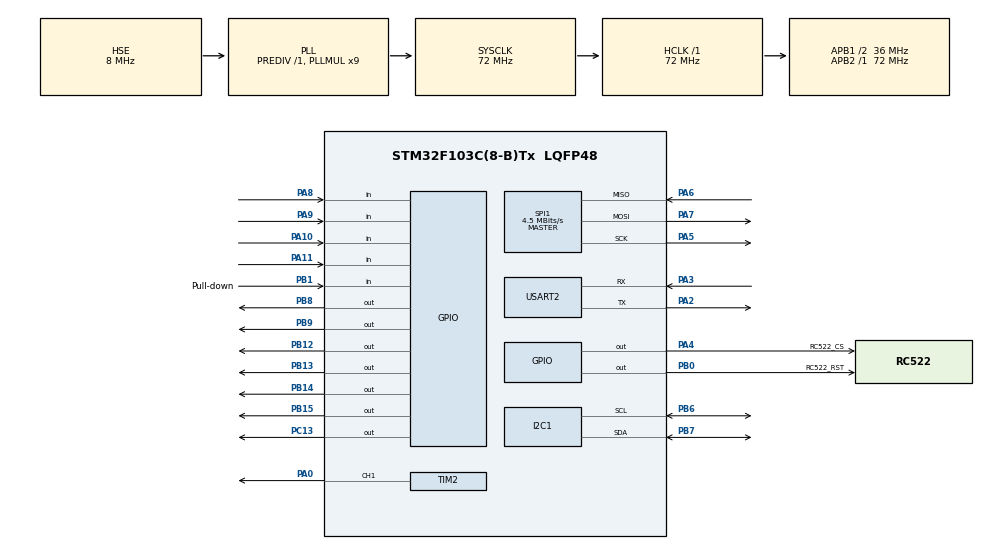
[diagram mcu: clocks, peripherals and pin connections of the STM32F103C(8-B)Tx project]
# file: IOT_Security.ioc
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Mcu.Family=STM32F1
Mcu.Name=STM32F103C(8-B)Tx
Mcu.Package=LQFP48
NVIC.PriorityGroup=NVIC_PRIORITYGROUP_4
NVIC.USART2_IRQn=true\:0\:0\:false\:false\:true\:true\:true\:true
PA0-WKUP.Signal=S_TIM2_CH1_ETR
PA10.GPIO_PuPd=GPIO_PULLUP
PA10.Signal=GPIO_Input
PA11.GPIO_PuPd=GPIO_PULLUP
PA11.Signal=GPIO_Input
PA13.Mode=Serial_Wire
PA13.Signal=SYS_JTMS-SWDIO
PA14.Mode=Serial_Wire
PA14.Signal=SYS_JTCK-SWCLK
PA2.Mode=Asynchronous
PA2.Signal=USART2_TX
PA3.Mode=Asynchronous
PA3.Signal=USART2_RX
PA4.GPIO_Label=RC522_CS
PA4.Signal=GPIO_Output
PA5.Mode=Full_Duplex_Master
PA5.Signal=SPI1_SCK
PA6.Mode=Full_Duplex_Master
PA6.Signal=SPI1_MISO
PA7.Mode=Full_Duplex_Master
PA7.Signal=SPI1_MOSI
PA8.GPIO_PuPd=GPIO_PULLUP
PA8.Signal=GPIO_Input
PA9.GPIO_PuPd=GPIO_PULLUP
PA9.Signal=GPIO_Input
PB0.GPIO_Label=RC522_RST
PB0.Signal=GPIO_Output
PB1.GPIO_Label=Pull-down
PB1.GPIO_PuPd=GPIO_PULLDOWN
PB1.Signal=GPIO_Input
PB12.Signal=GPIO_Output
PB13.Signal=GPIO_Output
PB14.Signal=GPIO_Output
PB15.Signal=GPIO_Output
PB6.Mode=I2C
PB6.Signal=I2C1_SCL
PB7.Mode=I2C
PB7.Signal=I2C1_SDA
PB8.Signal=GPIO_Output
PB9.Signal=GPIO_Output
PC13-TAMPER-RTC.Signal=GPIO_Output
PD0-OSC_IN.Mode=HSE-External-Oscillator
PD0-OSC_IN.Signal=RCC_OSC_IN
PD1-OSC_OUT.Mode=HSE-External-Oscillator
PD1-OSC_OUT.Signal=RCC_OSC_OUT
ProjectManager.HeapSize=0x200
ProjectManager.StackSize=0x400
ProjectManager.TargetToolchain=STM32CubeIDE
RCC.AHBFreq_Value=72000000
RCC.APB1CLKDivider=RCC_HCLK_DIV2
RCC.APB1Freq_Value=36000000
RCC.APB1TimFreq_Value=72000000
RCC.APB2Freq_Value=72000000
RCC.APB2TimFreq_Value=72000000
RCC.HCLKFreq_Value=72000000
RCC.PLLMUL=RCC_PLL_MUL9
RCC.PLLSourceVirtual=RCC_PLLSOURCE_HSE
RCC.SYSCLKFreq_VALUE=72000000
RCC.SYSCLKSource=RCC_SYSCLKSOURCE_PLLCLK
RCC.USBFreq_Value=72000000
SH.S_TIM2_CH1_ETR.0=TIM2_CH1,PWM Generation1 CH1
SPI1.BaudRatePrescaler=SPI_BAUDRATEPRESCALER_16
SPI1.CalculateBaudRate=4.5 MBits/s
SPI1.Direction=SPI_DIRECTION_2LINES
SPI1.Mode=SPI_MODE_MASTER
SPI1.VirtualType=VM_MASTER
TIM2.Channel-PWM\ Generation1\ CH1=TIM_CHANNEL_1
TIM2.Period=19999
TIM2.Prescaler=71
USART2.VirtualMode=VM_ASYNC
board=custom

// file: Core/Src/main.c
/* USER CODE BEGIN Header */
/**
  ******************************************************************************
  * @file           : main.c
  * @brief          : Main program body - Smart Door Lock Complete
  ******************************************************************************
  */
/* USER CODE END Header */
#include "main.h"

/* USER CODE BEGIN Includes */
#include <string.h>
#include <stdio.h>
#include <stdbool.h>
#include "door_hw.h"
#include "esp8266.h"
#include "keypad.h"
#include "rc522.h"
#include "ssd1306.h"
/* USER CODE END Includes */

I2C_HandleTypeDef hi2c1;
SPI_HandleTypeDef hspi1;
TIM_HandleTypeDef htim2;
UART_HandleTypeDef huart2;

/* USER CODE BEGIN PV */
#define PASS_LEN 4
#define MAX_CARDS 5

typedef enum {
    STATE_NORMAL = 0,
    STATE_VERIFY_FOR_PASS,
    STATE_NEW_PASS,
    STATE_VERIFY_FOR_CARD,
    STATE_MANAGE_CARD,
    STATE_VERIFY_MODE_PIN,      // Nhập mã chủ nhà 4 số để bật/tắt Chế độ Vắng nhà
    STATE_VERIFY_OLD_MODE_PIN,  // Nhập mã chủ nhà cũ để đổi mã chủ nhà
    STATE_NEW_MODE_PIN          // Nhập mã chủ nhà mới
} SystemState_t;

SystemState_t sys_state = STATE_NORMAL;
char current_pass[PASS_LEN + 1] = "1234";      // Mật khẩu mở cửa thường
char master_mode_pin[PASS_LEN + 1] = "9999";   // Mã chủ nhà đổi chế độ Vắng nhà

uint8_t valid_cards[MAX_CARDS][4] = {
    {0x12, 0x34, 0x56, 0x78},
    {0, 0, 0, 0},
    {0, 0, 0, 0},
    {0, 0, 0, 0},
    {0, 0, 0, 0}
};
uint8_t card_count = 1;

char input_pass[PASS_LEN + 1] = {0};
uint8_t pass_idx = 0;
uint8_t wrong_count = 0;

bool away_mode = false;          // false: Ở nhà | true: Vắng nhà (khóa cứng)
bool is_door_open = false;
bool is_awake = false;
bool door_timeout_alert = false;

uint32_t last_interact_time = 0; // Mốc thời gian cho màn hình nghỉ 5s
uint32_t door_opened_time = 0;   // Mốc thời gian riêng cho cảnh báo quên đóng cửa 15s
uint32_t last_alarm_beep = 0;
uint8_t rx_uid[5];
/* USER CODE END PV */

void SystemClock_Config(void);
static void MX_GPIO_Init(void);
static void MX_I2C1_Init(void);
static void MX_SPI1_Init(void);
static void MX_TIM2_Init(void);
static void MX_USART2_UART_Init(void);

/* USER CODE BEGIN 0 */

void Update_Interaction(void) {
    uint32_t now = HAL_GetTick();
    last_interact_time = now;
    door_opened_time = now;
    door_timeout_alert = false;
}

void Show_Cute_Idle(void) {
    SSD1306_Clear();
    SSD1306_SetCursor(24, 1);
    SSD1306_WriteString("<3  SMART DOOR  <3");
    SSD1306_SetCursor(30, 4);
    SSD1306_WriteString("( ^  v  ^ )");
    SSD1306_SetCursor(28, 6);
    if (away_mode) {
        SSD1306_WriteString("[CHE DO VANG NHA]");
    } else {
        SSD1306_WriteString("Xin chao ban!");
    }
    SSD1306_UpdateScreen();
}

void Show_Current_Prompt(void) {
    char display_buf[16] = {0};
    for (uint8_t i = 0; i < PASS_LEN; i++) {
        if (sys_state == STATE_VERIFY_MODE_PIN || sys_state == STATE_VERIFY_OLD_MODE_PIN || sys_state == STATE_NEW_MODE_PIN) {
            display_buf[i * 2] = (i < pass_idx) ? '*' : '_';
        } else {
            display_buf[i * 2] = (i < pass_idx) ? input_pass[i] : '_';
        }
        display_buf[i * 2 + 1] = ' ';
    }

    if (sys_state == STATE_NORMAL) {
        UI_UpdateScreen(away_mode, "Nhap MK (4 so):", display_buf, "A:Mode B:MK *:MaChu");
    } else if (sys_state == STATE_VERIFY_FOR_PASS) {
        UI_UpdateScreen(away_mode, "DOI MK - Nhap MK cu:", display_buf, "#:Xac nhan  *:Huy");
    } else if (sys_state == STATE_NEW_PASS) {
        UI_UpdateScreen(away_mode, "DOI MK - Nhap MK moi:", display_buf, "#:Luu MK    *:Huy");
    } else if (sys_state == STATE_VERIFY_FOR_CARD) {
        UI_UpdateScreen(away_mode, "THE TU - Nhap MK:", display_buf, "#:Xac nhan  *:Huy");
    } else if (sys_state == STATE_MANAGE_CARD) {
        char info[22];
        snprintf(info, sizeof(info), "Da luu: %d/%d the", card_count, MAX_CARDS);
        UI_UpdateScreen(away_mode, "Quet the de THEM/XOA", info, "Bam [*] de thoat");
    } else if (sys_state == STATE_VERIFY_MODE_PIN) {
        UI_UpdateScreen(away_mode, "NHAP MA CHU NHA:", display_buf, "#:Doi Mode  *:Huy");
    } else if (sys_state == STATE_VERIFY_OLD_MODE_PIN) {
        UI_UpdateScreen(away_mode, "MA CHU NHA CU:", display_buf, "#:Tiep tuc  *:Huy");
    } else if (sys_state == STATE_NEW_MODE_PIN) {
        UI_UpdateScreen(away_mode, "MA CHU NHA MOI:", display_buf, "#:Luu ma    *:Huy");
    }
}

void Reset_Input(void) {
    pass_idx = 0;
    memset(input_pass, 0, sizeof(input_pass));
}

int8_t Find_Card(uint8_t *uid) {
    for (uint8_t i = 0; i < card_count; i++) {
        if (memcmp(valid_cards[i], uid, 4) == 0) {
            return i;
        }
    }
    return -1;
}

void Unlock_Door(const char *reason) {
    Update_Interaction();
    is_awake = true;

    // CHỐT CHẶN TUYỆT ĐỐI KHI Ở CHẾ ĐỘ VẮNG NHÀ
    if (away_mode) {
        LED_BlinkRed(2, 150);
        Buzzer_Beep(3, 150);
        UI_UpdateScreen(away_mode, "CHE DO VANG NHA!", "Cua da khoa cung!", "Tat Mode de mo cua");
        ESP8266_SendLog(0, 1);
        HAL_Delay(1500);
        Show_Current_Prompt();
        return;
    }

    wrong_count = 0;
    if (!is_door_open) {
        UI_UpdateScreen(away_mode, "MO CUA THANH CONG", reason, "Bam [D] de dong cua");
        LED_BlinkGreen(1, 150);
        Buzzer_Beep(1, 120);
        HAL_Delay(100);

        LED_SetRed(false);
        LED_SetGreen(true);

        Servo_SetAngle(90);
        is_door_open = true;
        door_timeout_alert = false;
        door_opened_time = HAL_GetTick();
        ESP8266_SendLog(1, 0);
    } else {
        UI_UpdateScreen(away_mode, "CUA DANG MO SAN", "Bam [D] de dong cua", "");
    }
}

void Lock_Door(void) {
    Update_Interaction();
    if (is_door_open) {
        UI_UpdateScreen(away_mode, "DANG DONG CUA...", "Xin cho mot chut", "");
        LED_SetGreen(false);
        LED_SetRed(false);
        door_timeout_alert = false;

        Buzzer_Beep(2, 80);
        Servo_SetAngle(0);
        is_door_open = false;
        sys_state = STATE_NORMAL;
        Reset_Input();
        Show_Current_Prompt();
    } else {
        UI_UpdateScreen(away_mode, "CUA DA DONG SAN!", "", "");
        HAL_Delay(1000);
        if (is_awake) Show_Current_Prompt();
        else Show_Cute_Idle();
    }
}
/* USER CODE END 0 */

int main(void)
{
  HAL_Init();
  SystemClock_Config();

  MX_GPIO_Init();
  MX_I2C1_Init();
  MX_SPI1_Init();
  MX_TIM2_Init();
  MX_USART2_UART_Init();

  /* USER CODE BEGIN 2 */
    DoorHW_Init(&htim2, &hi2c1);
    RC522_Init(&hspi1);
    UI_UpdateScreen(away_mode, "Khoi dong WiFi...", WIFI_SSID, "Xin cho 2 giay...");
    HAL_Delay(2000);

    char esp_ip[20] = {0};
    char debug_msg[25] = {0};

    if (ESP8266_Init(&huart2, esp_ip, debug_msg)) {
        char ip_line[26];
        snprintf(ip_line, sizeof(ip_line), "IP: %s", esp_ip);
        UI_UpdateScreen(away_mode, "WiFi: THANH CONG!", WIFI_SSID, ip_line);
        LED_BlinkGreen(2, 150);
        Buzzer_Beep(2, 100);
        HAL_Delay(3000);
    } else {
        UI_UpdateScreen(away_mode, "WiFi: THAT BAI!", debug_msg, "Xem lai phan cung");
        LED_BlinkRed(2, 200);
        Buzzer_Beep(3, 150);
        HAL_Delay(3000);
    }

    is_awake = false;
    Update_Interaction();
    Show_Cute_Idle();
  /* USER CODE END 2 */

  /* USER CODE BEGIN WHILE */
  while (1)
  {
    uint32_t now = HAL_GetTick();

        static uint8_t ir_prev_state = 0;
        uint8_t ir_triggered = (HAL_GPIO_ReadPin(Pull_down_GPIO_Port, Pull_down_Pin) == GPIO_PIN_RESET) ? 1 : 0;

        if (ir_triggered) {
            last_interact_time = now;

            if (ir_prev_state == 0) {
                LED_BlinkRed(1, 100);
            }

            if (!is_awake) {
                is_awake = true;
                sys_state = STATE_NORMAL;
                Reset_Input();
                Show_Current_Prompt();
            }
        }
        ir_prev_state = ir_triggered;

            if (is_awake && !is_door_open && (now - last_interact_time >= 10000)) {
                is_awake = false;
                sys_state = STATE_NORMAL;
                Reset_Input();
                LED_BlinkGreen(1, 100);
                Show_Cute_Idle();
            }

    if (is_door_open) {
        if (!door_timeout_alert && (now - door_opened_time >= 15000)) {
            door_timeout_alert = true;
            LED_SetGreen(false);
            LED_SetRed(true);
            UI_UpdateScreen(away_mode, "CANH BAO QUEN CUA!", "Mo qua 15 giay!", "Bam [D] de dong cua");
            ESP8266_SendLog(1, 1);
        }
        if (door_timeout_alert && (now - last_alarm_beep >= 600)) {
            last_alarm_beep = now;
            Buzzer_Beep(1, 150);
        }
    }

    char remote_pass[8] = {0};
    RemoteCmd_t rcmd = ESP8266_GetRemoteCmd(remote_pass);
    if (rcmd != REMOTE_CMD_NONE) {
        Update_Interaction();
        if (rcmd == REMOTE_CMD_OPEN) {
            Unlock_Door("Mo tu xa (WiFi)");
        } else if (rcmd == REMOTE_CMD_LOCK) {
            Lock_Door();
        } else if (rcmd == REMOTE_CMD_TOGGLE_MODE) {
            away_mode = !away_mode;
            if (away_mode && is_door_open) {
                Lock_Door();
            }
            LED_BlinkGreen(1, 120);
            Buzzer_Beep(1, 150);
            if (is_awake) Show_Current_Prompt();
            else Show_Cute_Idle();
        } else if (rcmd == REMOTE_CMD_CHANGE_PASS) {
            memcpy(current_pass, remote_pass, PASS_LEN);
            current_pass[PASS_LEN] = '\0';
            LED_BlinkGreen(2, 120);
            Buzzer_Beep(2, 80);
            UI_UpdateScreen(away_mode, "DOI MK TU XA!", "Da cap nhat MK moi", "");
            HAL_Delay(1500);
            if (is_awake) Show_Current_Prompt();
            else Show_Cute_Idle();
        } else if (rcmd == REMOTE_CMD_CHANGE_MPIN) {
            memcpy(master_mode_pin, remote_pass, PASS_LEN);
            master_mode_pin[PASS_LEN] = '\0';
            LED_BlinkGreen(2, 120);
            Buzzer_Beep(2, 80);
            UI_UpdateScreen(away_mode, "DOI MA CHU NHA!", "Da cap nhat tu xa", "");
            HAL_Delay(1500);
            if (is_awake) Show_Current_Prompt();
            else Show_Cute_Idle();
        }
    }

    if (is_awake) {
        if (RC522_Check(rx_uid) == RC522_OK) {
            Update_Interaction();
            uint8_t card_4b[4];
            memcpy(card_4b, rx_uid, 4);
            int8_t idx = Find_Card(card_4b);

            if (sys_state == STATE_MANAGE_CARD) {
                if (idx >= 0) {
                    for (uint8_t i = idx; i < card_count - 1; i++) {
                        memcpy(valid_cards[i], valid_cards[i + 1], 4);
                    }
                    card_count--;
                    LED_BlinkRed(2, 120);
                    Buzzer_Beep(2, 100);
                    UI_UpdateScreen(away_mode, "DA XOA THE NAY!", "Khoi danh sach", "");
                } else {
                    if (card_count < MAX_CARDS) {
                        memcpy(valid_cards[card_count], card_4b, 4);
                        card_count++;
                        LED_BlinkGreen(2, 120);
                        Buzzer_Beep(1, 200);
                        UI_UpdateScreen(away_mode, "THEM THE THANH CONG!", "Da luu the moi", "");
                    } else {
                        LED_BlinkRed(2, 150);
                        UI_UpdateScreen(away_mode, "BO NHO DAY!", "Toi da 5 the", "");
                    }
                }
                HAL_Delay(1500);
                Show_Current_Prompt();
            } else {
                if (idx >= 0) {
                    Unlock_Door("The RFID hop le");
                } else {
                    char uid_str[22];
                    snprintf(uid_str, sizeof(uid_str), "UID:%02X %02X %02X %02X",
                             card_4b[0], card_4b[1], card_4b[2], card_4b[3]);
                    LED_BlinkRed(1, 200);
                    Buzzer_Beep(2, 100);
                    UI_UpdateScreen(away_mode, "THE KHONG HOP LE!", uid_str, "Thu lai...");
                    ESP8266_SendLog(0, 1);
                    HAL_Delay(1500);
                    Show_Current_Prompt();
                }
            }
        }

        char key = Keypad_GetKey();
        if (key != 0) {
            Buzzer_Beep(1, 35);
            Update_Interaction();

            if (key == 'D') {
                Lock_Door();
            }
            else if (key == 'A' && sys_state == STATE_NORMAL) {
                sys_state = STATE_VERIFY_MODE_PIN;
                Reset_Input();
                Show_Current_Prompt();
            }
            else if (key == 'B' && sys_state == STATE_NORMAL) {
                sys_state = STATE_VERIFY_FOR_PASS;
                Reset_Input();
                Show_Current_Prompt();
            }
            else if (key == 'C' && sys_state == STATE_NORMAL) {
                sys_state = STATE_VERIFY_FOR_CARD;
                Reset_Input();
                Show_Current_Prompt();
            }
            else if (key == '*') {
                if (pass_idx > 0) {
                    Reset_Input();
                } else if (sys_state == STATE_NORMAL) {
                    sys_state = STATE_VERIFY_OLD_MODE_PIN;
                } else {
                    sys_state = STATE_NORMAL;
                }
                Show_Current_Prompt();
            }
            else if (key == '#') {
                if (pass_idx == 0 && sys_state == STATE_NORMAL) {
                    sys_state = STATE_VERIFY_MODE_PIN;
                    Show_Current_Prompt();
                }
                else if (pass_idx == PASS_LEN) {
                    input_pass[PASS_LEN] = '\0';

                    if (sys_state == STATE_NORMAL) {
                        if (strcmp(input_pass, current_pass) == 0) {
                            Unlock_Door("Mat khau dung");
                        } else {
                            wrong_count++;
                            LED_BlinkRed(1, 250);
                            Buzzer_Beep(2, 120);
                            if (wrong_count >= 3) {
                                LED_SetRed(true);
                                UI_UpdateScreen(away_mode, "CANH BAO!", "Sai qua 3 lan!", "Khoa 10 giay...");
                                ESP8266_SendLog(0, 1);
                                Buzzer_Beep(5, 300);
                                HAL_Delay(10000);
                                LED_SetRed(false);
                                wrong_count = 0;
                                Update_Interaction();
                            } else {
                                UI_UpdateScreen(away_mode, "SAI MAT KHAU!", "Vui long thu lai", "");
                                HAL_Delay(1200);
                            }
                            Show_Current_Prompt();
                        }
                    }
                    else if (sys_state == STATE_VERIFY_MODE_PIN) {
                        if (strcmp(input_pass, master_mode_pin) == 0) {
                            away_mode = !away_mode;
                            if (away_mode && is_door_open) {
                                Lock_Door();
                            }
                            LED_BlinkGreen(2, 120);
                            Buzzer_Beep(2, 100);
                            UI_UpdateScreen(away_mode,
                                            away_mode ? "DA BAT: VANG NHA" : "DA TAT: VANG NHA",
                                            away_mode ? "Khoa cung toan bo!" : "Mo cua binh thuong",
                                            "");
                        } else {
                            LED_BlinkRed(2, 200);
                            Buzzer_Beep(3, 150);
                            UI_UpdateScreen(away_mode, "SAI MA CHU NHA!", "Tu choi doi che do", "");
                        }
                        HAL_Delay(1500);
                        sys_state = STATE_NORMAL;
                        Reset_Input();
                        Show_Current_Prompt();
                    }
                    else if (sys_state == STATE_VERIFY_OLD_MODE_PIN) {
                        if (strcmp(input_pass, master_mode_pin) == 0) {
                            LED_BlinkGreen(1, 150);
                            sys_state = STATE_NEW_MODE_PIN;
                        } else {
                            LED_BlinkRed(2, 200);
                            Buzzer_Beep(2, 120);
                            UI_UpdateScreen(away_mode, "SAI MA CHU NHA CU!", "Huy thao tac", "");
                            HAL_Delay(1200);
                            sys_state = STATE_NORMAL;
                        }
                        Reset_Input();
                        Show_Current_Prompt();
                    }
                    else if (sys_state == STATE_NEW_MODE_PIN) {
                        strcpy(master_mode_pin, input_pass);
                        LED_BlinkGreen(2, 120);
                        Buzzer_Beep(2, 100);
                        UI_UpdateScreen(away_mode, "DOI MA CHU NHA OK!", "Da luu ma moi", "");
                        HAL_Delay(1500);
                        sys_state = STATE_NORMAL;
                        Reset_Input();
                        Show_Current_Prompt();
                    }
                    else if (sys_state == STATE_VERIFY_FOR_PASS) {
                        if (strcmp(input_pass, current_pass) == 0) {
                            LED_BlinkGreen(1, 150);
                            sys_state = STATE_NEW_PASS;
                        } else {
                            LED_BlinkRed(1, 250);
                            Buzzer_Beep(2, 120);
                            UI_UpdateScreen(away_mode, "SAI MK HIEN TAI!", "Huy doi mat khau", "");
                            HAL_Delay(1200);
                            sys_state = STATE_NORMAL;
                        }
                        Reset_Input();
                        Show_Current_Prompt();
                    }
                    else if (sys_state == STATE_NEW_PASS) {
                        strcpy(current_pass, input_pass);
                        LED_BlinkGreen(2, 120);
                        Buzzer_Beep(2, 100);
                        UI_UpdateScreen(away_mode, "DOI MK THANH CONG!", "Da luu mat khau moi", "");
                        HAL_Delay(1500);
                        sys_state = STATE_NORMAL;
                        Reset_Input();
                        Show_Current_Prompt();
                    }
                    else if (sys_state == STATE_VERIFY_FOR_CARD) {
                        if (strcmp(input_pass, current_pass) == 0) {
                            LED_BlinkGreen(1, 150);
                            sys_state = STATE_MANAGE_CARD;
                        } else {
                            LED_BlinkRed(1, 250);
                            Buzzer_Beep(2, 120);
                            UI_UpdateScreen(away_mode, "SAI MAT KHAU!", "Khong duoc truy cap", "");
                            HAL_Delay(1200);
                            sys_state = STATE_NORMAL;
                        }
                        Reset_Input();
                        Show_Current_Prompt();
                    }
                    Reset_Input();
                }
            }
            else if (key >= '0' && key <= '9' && sys_state != STATE_MANAGE_CARD) {
                if (pass_idx < PASS_LEN) {
                    input_pass[pass_idx++] = key;
                    Show_Current_Prompt();
                }
            }
        }
    }
  }
  /* USER CODE END WHILE */
}

void SystemClock_Config(void)
{
  RCC_OscInitTypeDef RCC_OscInitStruct = {0};
  RCC_ClkInitTypeDef RCC_ClkInitStruct = {0};

  RCC_OscInitStruct.OscillatorType = RCC_OSCILLATORTYPE_HSE;
  RCC_OscInitStruct.HSEState = RCC_HSE_ON;
  RCC_OscInitStruct.HSEPredivValue = RCC_HSE_PREDIV_DIV1;
  RCC_OscInitStruct.HSIState = RCC_HSI_ON;
  RCC_OscInitStruct.PLL.PLLState = RCC_PLL_ON;
  RCC_OscInitStruct.PLL.PLLSource = RCC_PLLSOURCE_HSE;
  RCC_OscInitStruct.PLL.PLLMUL = RCC_PLL_MUL9;
  if (HAL_RCC_OscConfig(&RCC_OscInitStruct) != HAL_OK)
  {
    Error_Handler();
  }

  RCC_ClkInitStruct.ClockType = RCC_CLOCKTYPE_HCLK|RCC_CLOCKTYPE_SYSCLK
                              |RCC_CLOCKTYPE_PCLK1|RCC_CLOCKTYPE_PCLK2;
  RCC_ClkInitStruct.SYSCLKSource = RCC_SYSCLKSOURCE_PLLCLK;
  RCC_ClkInitStruct.AHBCLKDivider = RCC_SYSCLK_DIV1;
  RCC_ClkInitStruct.APB1CLKDivider = RCC_HCLK_DIV2;
  RCC_ClkInitStruct.APB2CLKDivider = RCC_HCLK_DIV1;

  if (HAL_RCC_ClockConfig(&RCC_ClkInitStruct, FLASH_LATENCY_2) != HAL_OK)
  {
    Error_Handler();
  }
}

static void MX_I2C1_Init(void)
{
  hi2c1.Instance = I2C1;
  hi2c1.Init.ClockSpeed = 100000;
  hi2c1.Init.DutyCycle = I2C_DUTYCYCLE_2;
  hi2c1.Init.OwnAddress1 = 0;
  hi2c1.Init.AddressingMode = I2C_ADDRESSINGMODE_7BIT;
  hi2c1.Init.DualAddressMode = I2C_DUALADDRESS_DISABLE;
  hi2c1.Init.OwnAddress2 = 0;
  hi2c1.Init.GeneralCallMode = I2C_GENERALCALL_DISABLE;
  hi2c1.Init.NoStretchMode = I2C_NOSTRETCH_DISABLE;
  if (HAL_I2C_Init(&hi2c1) != HAL_OK)
  {
    Error_Handler();
  }
}

static void MX_SPI1_Init(void)
{
  hspi1.Instance = SPI1;
  hspi1.Init.Mode = SPI_MODE_MASTER;
  hspi1.Init.Direction = SPI_DIRECTION_2LINES;
  hspi1.Init.DataSize = SPI_DATASIZE_8BIT;
  hspi1.Init.CLKPolarity = SPI_POLARITY_LOW;
  hspi1.Init.CLKPhase = SPI_PHASE_1EDGE;
  hspi1.Init.NSS = SPI_NSS_SOFT;
  hspi1.Init.BaudRatePrescaler = SPI_BAUDRATEPRESCALER_16;
  hspi1.Init.FirstBit = SPI_FIRSTBIT_MSB;
  hspi1.Init.TIMode = SPI_TIMODE_DISABLE;
  hspi1.Init.CRCCalculation = SPI_CRCCALCULATION_DISABLE;
  hspi1.Init.CRCPolynomial = 10;
  if (HAL_SPI_Init(&hspi1) != HAL_OK)
  {
    Error_Handler();
  }
}

static void MX_TIM2_Init(void)
{
  TIM_MasterConfigTypeDef sMasterConfig = {0};
  TIM_OC_InitTypeDef sConfigOC = {0};

  htim2.Instance = TIM2;
  htim2.Init.Prescaler = 71;
  htim2.Init.CounterMode = TIM_COUNTERMODE_UP;
  htim2.Init.Period = 19999;
  htim2.Init.ClockDivision = TIM_CLOCKDIVISION_DIV1;
  htim2.Init.AutoReloadPreload = TIM_AUTORELOAD_PRELOAD_DISABLE;
  if (HAL_TIM_PWM_Init(&htim2) != HAL_OK)
  {
    Error_Handler();
  }
  sMasterConfig.MasterOutputTrigger = TIM_TRGO_RESET;
  sMasterConfig.MasterSlaveMode = TIM_MASTERSLAVEMODE_DISABLE;
  if (HAL_TIMEx_MasterConfigSynchronization(&htim2, &sMasterConfig) != HAL_OK)
  {
    Error_Handler();
  }
  sConfigOC.OCMode = TIM_OCMODE_PWM1;
  sConfigOC.Pulse = 0;
  sConfigOC.OCPolarity = TIM_OCPOLARITY_HIGH;
  sConfigOC.OCFastMode = TIM_OCFAST_DISABLE;
  if (HAL_TIM_PWM_ConfigChannel(&htim2, &sConfigOC, TIM_CHANNEL_1) != HAL_OK)
  {
    Error_Handler();
  }
  HAL_TIM_MspPostInit(&htim2);
}

static void MX_USART2_UART_Init(void)
{
  huart2.Instance = USART2;
  huart2.Init.BaudRate = 115200;
  huart2.Init.WordLength = UART_WORDLENGTH_8B;
  huart2.Init.StopBits = UART_STOPBITS_1;
  huart2.Init.Parity = UART_PARITY_NONE;
  huart2.Init.Mode = UART_MODE_TX_RX;
  huart2.Init.HwFlowCtl = UART_HWCONTROL_NONE;
  huart2.Init.OverSampling = UART_OVERSAMPLING_16;
  if (HAL_UART_Init(&huart2) != HAL_OK)
  {
    Error_Handler();
  }
}

static void MX_GPIO_Init(void)
{
  GPIO_InitTypeDef GPIO_InitStruct = {0};

  __HAL_RCC_GPIOC_CLK_ENABLE();
  __HAL_RCC_GPIOD_CLK_ENABLE();
  __HAL_RCC_GPIOA_CLK_ENABLE();
  __HAL_RCC_GPIOB_CLK_ENABLE();

  HAL_GPIO_WritePin(GPIOC, GPIO_PIN_13, GPIO_PIN_RESET);
  HAL_GPIO_WritePin(RC522_CS_GPIO_Port, RC522_CS_Pin, GPIO_PIN_RESET);
  HAL_GPIO_WritePin(GPIOB, RC522_RST_Pin|GPIO_PIN_12|GPIO_PIN_13|GPIO_PIN_14
                          |GPIO_PIN_15|GPIO_PIN_8|GPIO_PIN_9, GPIO_PIN_RESET);

  GPIO_InitStruct.Pin = GPIO_PIN_13;
  GPIO_InitStruct.Mode = GPIO_MODE_OUTPUT_PP;
  GPIO_InitStruct.Pull = GPIO_NOPULL;
  GPIO_InitStruct.Speed = GPIO_SPEED_FREQ_LOW;
  HAL_GPIO_Init(GPIOC, &GPIO_InitStruct);

  GPIO_InitStruct.Pin = RC522_CS_Pin;
  GPIO_InitStruct.Mode = GPIO_MODE_OUTPUT_PP;
  GPIO_InitStruct.Pull = GPIO_NOPULL;
  GPIO_InitStruct.Speed = GPIO_SPEED_FREQ_LOW;
  HAL_GPIO_Init(RC522_CS_GPIO_Port, &GPIO_InitStruct);

  GPIO_InitStruct.Pin = RC522_RST_Pin|GPIO_PIN_12|GPIO_PIN_13|GPIO_PIN_14
                          |GPIO_PIN_15|GPIO_PIN_8|GPIO_PIN_9;
  GPIO_InitStruct.Mode = GPIO_MODE_OUTPUT_PP;
  GPIO_InitStruct.Pull = GPIO_NOPULL;
  GPIO_InitStruct.Speed = GPIO_SPEED_FREQ_LOW;
  HAL_GPIO_Init(GPIOB, &GPIO_InitStruct);

  GPIO_InitStruct.Pin = Pull_down_Pin;
  GPIO_InitStruct.Mode = GPIO_MODE_INPUT;
  GPIO_InitStruct.Pull = GPIO_PULLUP;
  HAL_GPIO_Init(Pull_down_GPIO_Port, &GPIO_InitStruct);

  GPIO_InitStruct.Pin = GPIO_PIN_8|GPIO_PIN_9|GPIO_PIN_10|GPIO_PIN_11;
  GPIO_InitStruct.Mode = GPIO_MODE_INPUT;
  GPIO_InitStruct.Pull = GPIO_PULLUP;
  HAL_GPIO_Init(GPIOA, &GPIO_InitStruct);
}

void Error_Handler(void)
{
  __disable_irq();
  while (1)
  {
  }
}
